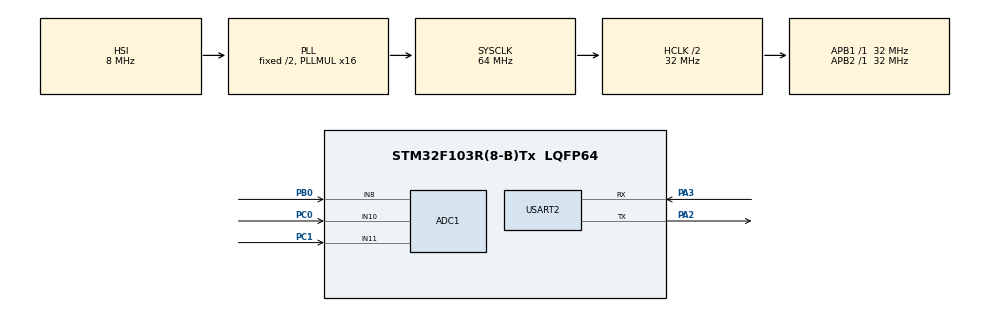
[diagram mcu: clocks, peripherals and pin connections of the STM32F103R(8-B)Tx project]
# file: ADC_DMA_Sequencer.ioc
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ADC1.Channel-0\#ChannelRegularConversion=ADC_CHANNEL_8
ADC1.Channel-1\#ChannelRegularConversion=ADC_CHANNEL_11
ADC1.Channel-2\#ChannelRegularConversion=ADC_CHANNEL_10
ADC1.ContinuousConvMode=ENABLE
ADC1.NbrOfConversion=3
ADC1.NbrOfConversionFlag=1
ADC1.Rank-0\#ChannelRegularConversion=1
ADC1.Rank-1\#ChannelRegularConversion=2
ADC1.Rank-2\#ChannelRegularConversion=3
ADC1.SamplingTime-0\#ChannelRegularConversion=ADC_SAMPLETIME_7CYCLES_5
ADC1.SamplingTime-1\#ChannelRegularConversion=ADC_SAMPLETIME_7CYCLES_5
ADC1.SamplingTime-2\#ChannelRegularConversion=ADC_SAMPLETIME_7CYCLES_5
ADC1.master=1
Dma.ADC1.0.Direction=DMA_PERIPH_TO_MEMORY
Dma.ADC1.0.Instance=DMA1_Channel1
Dma.ADC1.0.MemDataAlignment=DMA_MDATAALIGN_HALFWORD
Dma.ADC1.0.MemInc=DMA_MINC_ENABLE
Dma.ADC1.0.Mode=DMA_CIRCULAR
Dma.ADC1.0.PeriphDataAlignment=DMA_PDATAALIGN_HALFWORD
Dma.ADC1.0.PeriphInc=DMA_PINC_DISABLE
Dma.ADC1.0.Priority=DMA_PRIORITY_LOW
Dma.Request0=ADC1
Mcu.Family=STM32F1
Mcu.Name=STM32F103R(8-B)Tx
Mcu.Package=LQFP64
NVIC.DMA1_Channel1_IRQn=true\:0\:0\:false\:false\:true\:false\:true
NVIC.PriorityGroup=NVIC_PRIORITYGROUP_4
PA13.Mode=Serial_Wire
PA13.Signal=SYS_JTMS-SWDIO
PA14.Mode=Serial_Wire
PA14.Signal=SYS_JTCK-SWCLK
PA2.Mode=Asynchronous
PA2.Signal=USART2_TX
PA3.Mode=Asynchronous
PA3.Signal=USART2_RX
PB0.Signal=ADCx_IN8
PC0.Signal=ADCx_IN10
PC1.Signal=ADCx_IN11
ProjectManager.HeapSize=0x200
ProjectManager.StackSize=0x400
ProjectManager.TargetToolchain=STM32CubeIDE
RCC.ADCPresc=RCC_ADCPCLK2_DIV4
RCC.AHBCLKDivider=RCC_SYSCLK_DIV2
RCC.AHBFreq_Value=32000000
RCC.APB1Freq_Value=32000000
RCC.APB1TimFreq_Value=32000000
RCC.APB2Freq_Value=32000000
RCC.APB2TimFreq_Value=32000000
RCC.HCLKFreq_Value=32000000
RCC.PLLMUL=RCC_PLL_MUL16
RCC.SYSCLKFreq_VALUE=64000000
RCC.SYSCLKSource=RCC_SYSCLKSOURCE_PLLCLK
RCC.USBFreq_Value=64000000
SH.ADCx_IN10.0=ADC1_IN10,IN10
SH.ADCx_IN11.0=ADC1_IN11,IN11
SH.ADCx_IN8.0=ADC1_IN8,IN8
USART2.VirtualMode=VM_ASYNC
board=custom

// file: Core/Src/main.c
/* USER CODE BEGIN Header */
/**
  ******************************************************************************
  * @file           : main.c
  * @brief          : Main program body
  ******************************************************************************
  * @attention
  *
  * <h2><center>&copy; Copyright (c) 2021 STMicroelectronics.
  * All rights reserved.</center></h2>
  *
  * This software component is licensed by ST under BSD 3-Clause license,
  * the "License"; You may not use this file except in compliance with the
  * License. You may obtain a copy of the License at:
  *                        opensource.org/licenses/BSD-3-Clause
  *
  ******************************************************************************
  */
/* USER CODE END Header */
#include "main.h"
#include <stdio.h>

ADC_HandleTypeDef hadc1;
DMA_HandleTypeDef hdma_adc1;

UART_HandleTypeDef huart2;

/* USER CODE BEGIN PV */
volatile uint16_t uwADCxConvertedValue[3];
/* USER CODE END PV */

void SystemClock_Config(void);
static void MX_GPIO_Init(void);
static void MX_DMA_Init(void);
static void MX_ADC1_Init(void);
static void MX_USART2_UART_Init(void);

/* USER CODE BEGIN 0 */
#ifdef __GNUC__
#define PUTCHAR_PROTOTYPE int __io_putchar(int ch)
#else
#define PUTCHAR_PROTOTYPE int fputc(int ch,FILE *f)
#endif

PUTCHAR_PROTOTYPE
{
	if (ch == '\n')
		HAL_UART_Transmit (&huart2, (uint8_t*) "\r", 1, 0xFFFF);
	HAL_UART_Transmit (&huart2, (uint8_t*) &ch, 1, 0xFFFF);
	return ch;
}
/* USER CODE END 0 */

int main(void)
{

  /* MCU Configuration--------------------------------------------------------*/

  /* Reset of all peripherals, Initializes the Flash interface and the Systick. */
  HAL_Init();

  /* Configure the system clock */
  SystemClock_Config();

  /* Initialize all configured peripherals */
  MX_GPIO_Init();
  MX_DMA_Init();
  MX_ADC1_Init();
  MX_USART2_UART_Init();

  /* Infinite loop */
  /* USER CODE BEGIN WHILE */
  if (HAL_ADCEx_Calibration_Start(&hadc1) != HAL_OK)
  {
	  Error_Handler();
  }

  if (HAL_ADC_Start_DMA(&hadc1,  (uint32_t*) &uwADCxConvertedValue, 3) != HAL_OK)
  {
	  Error_Handler();
  }

  while (1)
  {
    /* USER CODE END WHILE */
	  printf ("X=%4d, Y=%4d, Z=%4d\n", uwADCxConvertedValue[0], uwADCxConvertedValue[1], uwADCxConvertedValue[2]);
	  HAL_Delay(100);
  }
}

void SystemClock_Config(void)
{
  RCC_OscInitTypeDef RCC_OscInitStruct = {0};
  RCC_ClkInitTypeDef RCC_ClkInitStruct = {0};
  RCC_PeriphCLKInitTypeDef PeriphClkInit = {0};

  /** Initializes the RCC Oscillators according to the specified parameters
  * in the RCC_OscInitTypeDef structure.
  */
  RCC_OscInitStruct.OscillatorType = RCC_OSCILLATORTYPE_HSI;
  RCC_OscInitStruct.HSIState = RCC_HSI_ON;
  RCC_OscInitStruct.HSICalibrationValue = RCC_HSICALIBRATION_DEFAULT;
  RCC_OscInitStruct.PLL.PLLState = RCC_PLL_ON;
  RCC_OscInitStruct.PLL.PLLSource = RCC_PLLSOURCE_HSI_DIV2;
  RCC_OscInitStruct.PLL.PLLMUL = RCC_PLL_MUL16;
  if (HAL_RCC_OscConfig(&RCC_OscInitStruct) != HAL_OK)
  {
    Error_Handler();
  }
  /** Initializes the CPU, AHB and APB buses clocks
  */
  RCC_ClkInitStruct.ClockType = RCC_CLOCKTYPE_HCLK|RCC_CLOCKTYPE_SYSCLK
                              |RCC_CLOCKTYPE_PCLK1|RCC_CLOCKTYPE_PCLK2;
  RCC_ClkInitStruct.SYSCLKSource = RCC_SYSCLKSOURCE_PLLCLK;
  RCC_ClkInitStruct.AHBCLKDivider = RCC_SYSCLK_DIV2;
  RCC_ClkInitStruct.APB1CLKDivider = RCC_HCLK_DIV1;
  RCC_ClkInitStruct.APB2CLKDivider = RCC_HCLK_DIV1;

  if (HAL_RCC_ClockConfig(&RCC_ClkInitStruct, FLASH_LATENCY_2) != HAL_OK)
  {
    Error_Handler();
  }
  PeriphClkInit.PeriphClockSelection = RCC_PERIPHCLK_ADC;
  PeriphClkInit.AdcClockSelection = RCC_ADCPCLK2_DIV4;
  if (HAL_RCCEx_PeriphCLKConfig(&PeriphClkInit) != HAL_OK)
  {
    Error_Handler();
  }
}

static void MX_ADC1_Init(void)
{

  ADC_ChannelConfTypeDef sConfig = {0};

  /** Common config
  */
  hadc1.Instance = ADC1;
  hadc1.Init.ScanConvMode = ADC_SCAN_ENABLE;
  hadc1.Init.ContinuousConvMode = ENABLE;
  hadc1.Init.DiscontinuousConvMode = DISABLE;
  hadc1.Init.ExternalTrigConv = ADC_SOFTWARE_START;
  hadc1.Init.DataAlign = ADC_DATAALIGN_RIGHT;
  hadc1.Init.NbrOfConversion = 3;
  if (HAL_ADC_Init(&hadc1) != HAL_OK)
  {
    Error_Handler();
  }
  /** Configure Regular Channel
  */
  sConfig.Channel = ADC_CHANNEL_8;
  sConfig.Rank = ADC_REGULAR_RANK_1;
  sConfig.SamplingTime = ADC_SAMPLETIME_7CYCLES_5;
  if (HAL_ADC_ConfigChannel(&hadc1, &sConfig) != HAL_OK)
  {
    Error_Handler();
  }
  /** Configure Regular Channel
  */
  sConfig.Channel = ADC_CHANNEL_11;
  sConfig.Rank = ADC_REGULAR_RANK_2;
  if (HAL_ADC_ConfigChannel(&hadc1, &sConfig) != HAL_OK)
  {
    Error_Handler();
  }
  /** Configure Regular Channel
  */
  sConfig.Channel = ADC_CHANNEL_10;
  sConfig.Rank = ADC_REGULAR_RANK_3;
  if (HAL_ADC_ConfigChannel(&hadc1, &sConfig) != HAL_OK)
  {
    Error_Handler();
  }

}

static void MX_USART2_UART_Init(void)
{

  huart2.Instance = USART2;
  huart2.Init.BaudRate = 115200;
  huart2.Init.WordLength = UART_WORDLENGTH_8B;
  huart2.Init.StopBits = UART_STOPBITS_1;
  huart2.Init.Parity = UART_PARITY_NONE;
  huart2.Init.Mode = UART_MODE_TX_RX;
  huart2.Init.HwFlowCtl = UART_HWCONTROL_NONE;
  huart2.Init.OverSampling = UART_OVERSAMPLING_16;
  if (HAL_UART_Init(&huart2) != HAL_OK)
  {
    Error_Handler();
  }

}

static void MX_DMA_Init(void)
{

  /* DMA controller clock enable */
  __HAL_RCC_DMA1_CLK_ENABLE();

  /* DMA interrupt init */
  /* DMA1_Channel1_IRQn interrupt configuration */
  HAL_NVIC_SetPriority(DMA1_Channel1_IRQn, 0, 0);
  HAL_NVIC_EnableIRQ(DMA1_Channel1_IRQn);

}

static void MX_GPIO_Init(void)
{

  /* GPIO Ports Clock Enable */
  __HAL_RCC_GPIOC_CLK_ENABLE();
  __HAL_RCC_GPIOA_CLK_ENABLE();
  __HAL_RCC_GPIOB_CLK_ENABLE();

}

void Error_Handler(void)
{
  __disable_irq();
  while (1)
  {
  }
}

/************************ (C) COPYRIGHT STMicroelectronics *****END OF FILE****/
